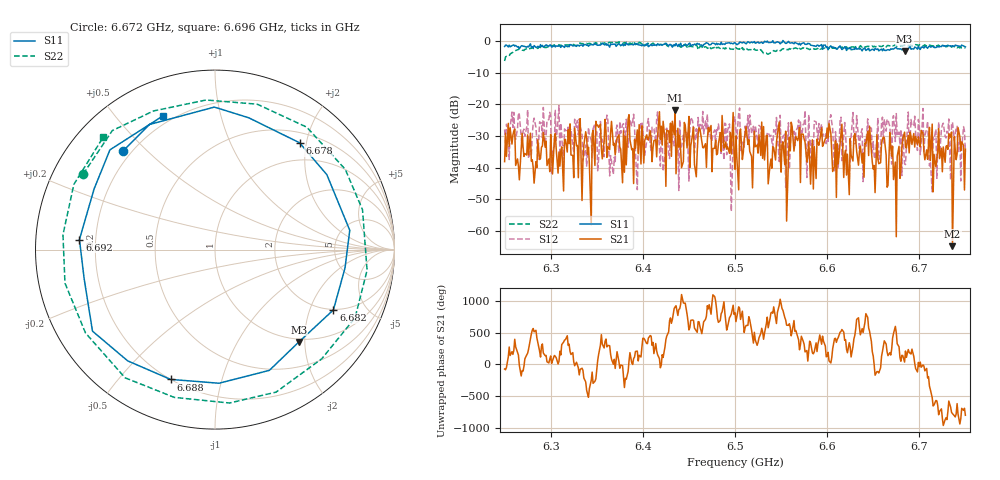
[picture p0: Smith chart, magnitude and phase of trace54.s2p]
# Hz S RI R 50
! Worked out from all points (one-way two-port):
!   401 points, 6.25 GHz to 6.75 GHz, reference 50 ohm
!   highest |S21| = -21.82 dB at 6.435 GHz (marker M1); lowest = -64.8 dB at 6.736 GHz (marker M2)
!   lowest |S11| = -3.2 dB at 6.684 GHz (marker M3), VSWR 5.56, Z = 47.1 - j93.8 ohm
!   |S11| at or under -10 dB: nowhere
!   |S22| runs from -6.2 to -0.2 dB; largest |S21 - S12| = 0.11
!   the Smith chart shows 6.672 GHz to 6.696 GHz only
!   S11 on the Smith chart (normalised r, x): 6.672 GHz: 0.17, +0.42; 6.678 GHz: 0.67, +1.88; 6.682 GHz: 1.98, -2.94; 6.688 GHz: 0.20, -0.70; 6.692 GHz: 0.14, +0.04; 6.696 GHz: 0.16, +0.67
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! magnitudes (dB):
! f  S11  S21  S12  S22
! 6.25 GHz  -1.7  -38.1  -27.9  -6.2
! 6.334 GHz  -1.2  -50.3  -29.1  -0.8
! 6.36 GHz  -0.7  -28.4  -26.3  -0.3
! 6.366 GHz  -1.0  -25.3  -37.9  -0.4
! 6.389 GHz  -1.1  -33.9  -25.4  -0.6
! 6.418 GHz  -1.3  -22.3  -33.8  -1.1
! 6.435 GHz  -1.4  -21.8  -30.6  -1.2
! 6.494 GHz  -0.5  -35.4  -26.1  -2.2
! 6.5 GHz  -0.5  -40.5  -23.8  -2.6
! 6.584 GHz  -1.4  -31.1  -34.9  -2.3
! 6.601 GHz  -2.7  -30.6  -32.1  -2.5
! 6.608 GHz  -2.0  -39.5  -41.0  -2.2
! 6.668 GHz  -2.8  -28.9  -27.0  -1.5
! 6.672 GHz  -2.5  -43.7  -23.5  -1.4
! 6.678 GHz  -2.4  -33.2  -28.7  -1.5
! 6.682 GHz  -2.6  -30.8  -29.3  -1.4
! 6.684 GHz  -3.2  -28.7  -38.7  -1.2
! 6.688 GHz  -2.3  -29.8  -22.4  -1.3
! 6.692 GHz  -2.4  -32.6  -26.8  -1.3
! 6.696 GHz  -1.9  -30.1  -29.2  -1.1
! 6.736 GHz  -1.4  -64.8  -25.6  -1.6
! 6.75 GHz  -1.8  -34.1  -34.8  -2.2
